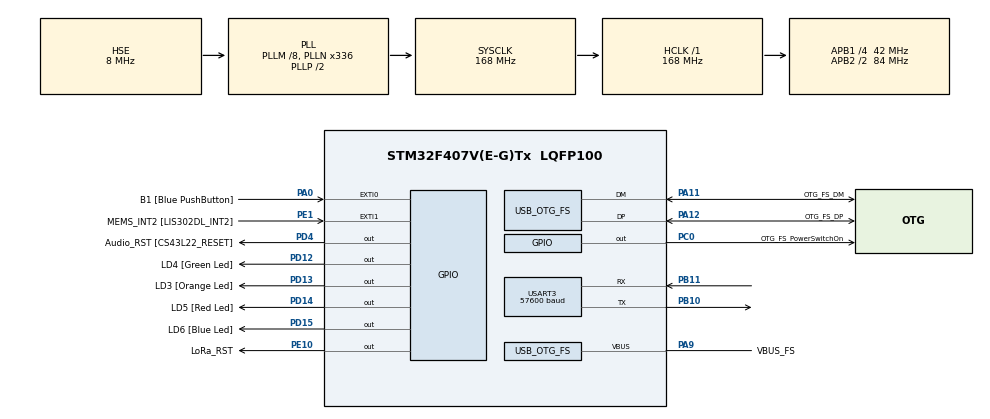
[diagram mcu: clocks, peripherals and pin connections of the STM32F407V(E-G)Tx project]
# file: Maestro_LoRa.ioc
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Mcu.Family=STM32F4
Mcu.Name=STM32F407V(E-G)Tx
Mcu.Package=LQFP100
NVIC.OTG_FS_IRQn=true\:0\:0\:false\:false\:true\:true\:true\:true
NVIC.PriorityGroup=NVIC_PRIORITYGROUP_0
PA0-WKUP.GPIO_Label=B1 [Blue PushButton]
PA0-WKUP.GPIO_ModeDefaultEXTI=GPIO_MODE_EVT_RISING
PA0-WKUP.GPIO_PuPd=GPIO_NOPULL
PA0-WKUP.Signal=GPXTI0
PA10.GPIO_Label=OTG_FS_ID
PA10.GPIO_Mode=GPIO_MODE_AF_PP
PA10.GPIO_PuPd=GPIO_NOPULL
PA10.GPIO_Speed=GPIO_SPEED_FREQ_LOW
PA10.Signal=USB_OTG_FS_ID
PA11.GPIO_Label=OTG_FS_DM
PA11.GPIO_Mode=GPIO_MODE_AF_PP
PA11.GPIO_PuPd=GPIO_NOPULL
PA11.GPIO_Speed=GPIO_SPEED_FREQ_LOW
PA11.Mode=Host_Only
PA11.Signal=USB_OTG_FS_DM
PA12.GPIO_Label=OTG_FS_DP
PA12.GPIO_Mode=GPIO_MODE_AF_PP
PA12.GPIO_PuPd=GPIO_NOPULL
PA12.GPIO_Speed=GPIO_SPEED_FREQ_LOW
PA12.Mode=Host_Only
PA12.Signal=USB_OTG_FS_DP
PA13.GPIO_Label=SWDIO
PA13.Mode=Serial_Wire
PA13.Signal=SYS_JTMS-SWDIO
PA14.GPIO_Label=SWCLK
PA14.Mode=Serial_Wire
PA14.Signal=SYS_JTCK-SWCLK
PA9.GPIO_Label=VBUS_FS
PA9.GPIO_Mode=GPIO_MODE_INPUT
PA9.GPIO_PuPd=GPIO_NOPULL
PA9.Mode=Activate_VBUS
PA9.Signal=USB_OTG_FS_VBUS
PB10.Mode=Asynchronous
PB10.Signal=USART3_TX
PB11.Mode=Asynchronous
PB11.Signal=USART3_RX
PC0.GPIO_Label=OTG_FS_PowerSwitchOn
PC0.GPIO_PuPd=GPIO_NOPULL
PC0.GPIO_Speed=GPIO_SPEED_FREQ_LOW
PC0.PinState=GPIO_PIN_SET
PC0.Signal=GPIO_Output
PC14-OSC32_IN.GPIO_Label=PC14-OSC32_IN
PC14-OSC32_IN.Mode=LSE-External-Oscillator
PC14-OSC32_IN.Signal=RCC_OSC32_IN
PC15-OSC32_OUT.GPIO_Label=PC15-OSC32_OUT
PC15-OSC32_OUT.Mode=LSE-External-Oscillator
PC15-OSC32_OUT.Signal=RCC_OSC32_OUT
PD12.GPIO_Label=LD4 [Green Led]
PD12.GPIO_PuPd=GPIO_NOPULL
PD12.GPIO_Speed=GPIO_SPEED_FREQ_LOW
PD12.Signal=GPIO_Output
PD13.GPIO_Label=LD3 [Orange Led]
PD13.GPIO_PuPd=GPIO_NOPULL
PD13.GPIO_Speed=GPIO_SPEED_FREQ_LOW
PD13.Signal=GPIO_Output
PD14.GPIO_Label=LD5 [Red Led]
PD14.GPIO_PuPd=GPIO_NOPULL
PD14.GPIO_Speed=GPIO_SPEED_FREQ_LOW
PD14.Signal=GPIO_Output
PD15.GPIO_Label=LD6 [Blue Led]
PD15.GPIO_PuPd=GPIO_NOPULL
PD15.GPIO_Speed=GPIO_SPEED_FREQ_LOW
PD15.Signal=GPIO_Output
PD4.GPIO_Label=Audio_RST [CS43L22_RESET]
PD4.GPIO_PuPd=GPIO_NOPULL
PD4.GPIO_Speed=GPIO_SPEED_FREQ_LOW
PD4.Signal=GPIO_Output
PE1.GPIO_Label=MEMS_INT2 [LIS302DL_INT2]
PE1.GPIO_ModeDefaultEXTI=GPIO_MODE_EVT_RISING
PE1.GPIO_PuPd=GPIO_NOPULL
PE1.Signal=GPXTI1
PE10.GPIO_Label=LoRa_RST
PE10.GPIO_PuPd=GPIO_PULLUP
PE10.PinState=GPIO_PIN_SET
PE10.Signal=GPIO_Output
PH0-OSC_IN.GPIO_Label=PH0-OSC_IN
PH0-OSC_IN.Mode=HSE-External-Oscillator
PH0-OSC_IN.Signal=RCC_OSC_IN
PH1-OSC_OUT.GPIO_Label=PH1-OSC_OUT
PH1-OSC_OUT.Mode=HSE-External-Oscillator
PH1-OSC_OUT.Signal=RCC_OSC_OUT
ProjectManager.HeapSize=0x200
ProjectManager.StackSize=0x400
ProjectManager.TargetToolchain=STM32CubeIDE
RCC.48MHZClocksFreq_Value=48000000
RCC.AHBFreq_Value=168000000
RCC.APB1CLKDivider=RCC_HCLK_DIV4
RCC.APB1Freq_Value=42000000
RCC.APB1TimFreq_Value=84000000
RCC.APB2CLKDivider=RCC_HCLK_DIV2
RCC.APB2Freq_Value=84000000
RCC.APB2TimFreq_Value=168000000
RCC.CortexFreq_Value=168000000
RCC.HCLKFreq_Value=168000000
RCC.HSE_VALUE=8000000
RCC.HSI_VALUE=16000000
RCC.PLLM=8
RCC.PLLN=336
RCC.PLLQ=7
RCC.SYSCLKFreq_VALUE=168000000
RCC.SYSCLKSource=RCC_SYSCLKSOURCE_PLLCLK
RCC.VCOOutputFreq_Value=336000000
TIM3.Period=4199
USART3.BaudRate=57600
USART3.VirtualMode=VM_ASYNC
USB_HOST.BSP.number=1
USB_HOST.USBH_HandleTypeDef-CDC_FS=hUsbHostFS
USB_HOST.VirtualModeFS=Cdc
USB_HOST0.BSP.STBoard=false
USB_HOST0.BSP.api=Unknown
USB_HOST0.BSP.instance=PC0
USB_HOST0.BSP.ip=GPIO
USB_HOST0.BSP.mode=Output
USB_HOST0.BSP.name=Drive_VBUS_FS
USB_HOST0.BSP.solution=PC0
USB_OTG_FS.VirtualMode=Host_Only
USB_OTG_FS.phy_itface=HCD_PHY_EMBEDDED
VP_TIM3_VS_ClockSourceINT.Mode=Internal
VP_USB_HOST_VS_USB_HOST_CDC_FS.Mode=CDC_FS
board=STM32F407G-DISC1

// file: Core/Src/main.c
/* USER CODE BEGIN Header */
/**
  ******************************************************************************
  * @file           : main.c
  * @brief          : Main program body
  ******************************************************************************
  * @attention
  *
  * Copyright (c) 2025 STMicroelectronics.
  * All rights reserved.
  *
  * This software is licensed under terms that can be found in the LICENSE file
  * in the root directory of this software component.
  * If no LICENSE file comes with this software, it is provided AS-IS.
  *
  ******************************************************************************
  */
/* USER CODE END Header */
#include "main.h"
#include "usb_host.h"

/* USER CODE BEGIN Includes */
#include <stdio.h>
#include <string.h>
/* USER CODE END Includes */

TIM_HandleTypeDef htim3;

UART_HandleTypeDef huart3;

/* USER CODE BEGIN PV */
// ==== Config TLI4970 (SPI1 + CS en PE5) ====
//static int16_t g_i_last = 0;   // último muestreo de corriente

// Buffers LoRa
//#define LORA_RX_BUF_SZ 256
//static uint8_t lora_rx_buf[LORA_RX_BUF_SZ];
//static volatile size_t lora_rx_len = 0;
/* USER CODE END PV */

void SystemClock_Config(void);
static void MX_GPIO_Init(void);
static void MX_USART3_UART_Init(void);
static void MX_TIM3_Init(void);
void MX_USB_HOST_Process(void);

/* USER CODE BEGIN 0 */
static inline void LORA_Reset_Pulse(void)
{
  // RST PE10: Low 10 ms, luego High
  HAL_GPIO_WritePin(GPIOE, GPIO_PIN_10, GPIO_PIN_RESET);
  HAL_Delay(10);
  HAL_GPIO_WritePin(GPIOE, GPIO_PIN_10, GPIO_PIN_SET);
  HAL_Delay(100); // esperar banner de inicio
}

// Convierte 1 byte a 2 dígitos HEX ASCII (ej. 0x31 -> "31")
static void u8_to_hex2(uint8_t b, char out[3]) {
  const char *H = "0123456789ABCDEF";
  out[0] = H[(b >> 4) & 0x0F];
  out[1] = H[b & 0x0F];
  out[2] = '\0';
}

// === LoRa: TX/RX por polling línea-a-línea ===
static int LORA_SendLine(const char *line, uint32_t timeout_ms)
{
  char tx[128];
  int n = snprintf(tx, sizeof(tx), "%s\r\n", line);
  if (n <= 0) return -1;
  if (HAL_UART_Transmit(&huart3, (uint8_t*)tx, (uint16_t)n, timeout_ms) != HAL_OK) return -2;
  return 0;
}

static int LORA_ReadLine(char *out, size_t out_sz, uint32_t timeout_ms)
{
  size_t idx = 0;
  uint8_t ch;
  uint32_t start = HAL_GetTick();
  while ((HAL_GetTick() - start) < timeout_ms && idx < (out_sz-1))
  {
    if (HAL_UART_Receive(&huart3, &ch, 1, 10) == HAL_OK)
    {
      if (ch == '\n') break;
      if (ch != '\r') out[idx++] = ch;
    }
  }
  out[idx] = '\0';
  return (idx > 0) ? (int)idx : -1;
}

static int LORA_BootAndCheck(void)
{
  char line[128];

  LORA_Reset_Pulse();

  // Algunos RN2483 envían un banner tras reset; intenta leerlo sin bloquearte mucho
  LORA_ReadLine(line, sizeof(line), 300);

  if (LORA_SendLine("sys get ver", 200) != 0) return -1;
  if (LORA_ReadLine(line, sizeof(line), 500) < 0) return -2;

  // Aquí podrías validar prefijo "RN"
  return 0;
}

// === LoRa: TX básico en modo 'radio' (punto a punto) ===
static int LORA_RadioBasicTx(const char *hex_payload)
{
  char cmd[64], resp[64];

  LORA_SendLine("mac pause", 200);
  LORA_ReadLine(resp, sizeof(resp), 500);   // suele devolver "4294967295"

  // Config LoRa básica @433 MHz
  LORA_SendLine("radio set mod lora", 200);
  LORA_ReadLine(resp, sizeof(resp), 300);

  LORA_SendLine("radio set freq 433000000", 200);
  LORA_ReadLine(resp, sizeof(resp), 300);

  LORA_SendLine("radio set pwr 14", 200);
  LORA_ReadLine(resp, sizeof(resp), 300);

  LORA_SendLine("radio set sf sf7", 200);
  LORA_ReadLine(resp, sizeof(resp), 300);

  // BW correcto para LoRa (125/250/500)
  LORA_SendLine("radio set bw 125", 200);
  LORA_ReadLine(resp, sizeof(resp), 300);

  // Coding rate (4/5..4/8), CRC on, IQ invert off, preamble 8 (ajustables)
  LORA_SendLine("radio set cr 4/5", 200);
  LORA_ReadLine(resp, sizeof(resp), 300);

  LORA_SendLine("radio set crc on", 200);
  LORA_ReadLine(resp, sizeof(resp), 300);

  LORA_SendLine("radio set iqi off", 200);
  LORA_ReadLine(resp, sizeof(resp), 300);

  LORA_SendLine("radio set prlen 8", 200);
  LORA_ReadLine(resp, sizeof(resp), 300);

  // WDT 0 para evitar timeouts en radio
  LORA_SendLine("radio set wdt 0", 200);
  LORA_ReadLine(resp, sizeof(resp), 300);

  // TX
  snprintf(cmd, sizeof(cmd), "radio tx %s", hex_payload);
  if (LORA_SendLine(cmd, 500) != 0) return -1;

  if (LORA_ReadLine(resp, sizeof(resp), 500) < 0) return -2;   // esperado: "ok"
  if (LORA_ReadLine(resp, sizeof(resp), 2000) < 0) return -3;  // esperado: "radio_tx_ok"
  return 0;
}

/* USER CODE END 0 */

int main(void)
{

  /* MCU Configuration--------------------------------------------------------*/

  /* Reset of all peripherals, Initializes the Flash interface and the Systick. */
  HAL_Init();

  /* Configure the system clock */
  SystemClock_Config();

  /* Initialize all configured peripherals */
  MX_GPIO_Init();
  MX_USB_HOST_Init();
  MX_USART3_UART_Init();
  MX_TIM3_Init();
  /* USER CODE BEGIN 2 */

  // Boot + versión del LoRa
  if (LORA_BootAndCheck() != 0) {
    // aquí puedes encender un LED o imprimir por otra UART para saber que falló
  }

  // Arrancar PWM con 20% (ejemplo)

  //uint8_t txData[100];
  /* USER CODE END 2 */

  /* Infinite loop */
  while (1)
  {
    MX_USB_HOST_Process();

    /* USER CODE BEGIN 3 */
	      static uint8_t dig = 0;        // dígito actual (0..9)
	      static uint32_t t_tx = 0;

	      if (HAL_GetTick() - t_tx >= 1000)   // cada 1 segundo
	      {
	        t_tx = HAL_GetTick();

	        char payload_hex[3];              // 2 hex + '\0'
	        uint8_t ascii_digit = (uint8_t)('0' + dig); // '0'..'9'
	        u8_to_hex2(ascii_digit, payload_hex);       // ej. '1' -> "31"

	        int r = LORA_RadioBasicTx(payload_hex);     // envía "radio tx 31"
	        if (r == 0) {
	          HAL_GPIO_TogglePin(GPIOD, GPIO_PIN_12);   // LED verde: TX OK
	        } else {
	          HAL_GPIO_WritePin(GPIOD, GPIO_PIN_14, GPIO_PIN_SET); // LED rojo: fallo
	        }

	        // avanza al siguiente dígito
	        dig++;
	        if (dig > 9) dig = 0;
	      }
    }
  }
  /* USER CODE END 3 */

void SystemClock_Config(void)
{
  RCC_OscInitTypeDef RCC_OscInitStruct = {0};
  RCC_ClkInitTypeDef RCC_ClkInitStruct = {0};

  /** Configure the main internal regulator output voltage
  */
  __HAL_RCC_PWR_CLK_ENABLE();
  __HAL_PWR_VOLTAGESCALING_CONFIG(PWR_REGULATOR_VOLTAGE_SCALE1);

  /** Initializes the RCC Oscillators according to the specified parameters
  * in the RCC_OscInitTypeDef structure.
  */
  RCC_OscInitStruct.OscillatorType = RCC_OSCILLATORTYPE_HSE;
  RCC_OscInitStruct.HSEState = RCC_HSE_ON;
  RCC_OscInitStruct.PLL.PLLState = RCC_PLL_ON;
  RCC_OscInitStruct.PLL.PLLSource = RCC_PLLSOURCE_HSE;
  RCC_OscInitStruct.PLL.PLLM = 8;
  RCC_OscInitStruct.PLL.PLLN = 336;
  RCC_OscInitStruct.PLL.PLLP = RCC_PLLP_DIV2;
  RCC_OscInitStruct.PLL.PLLQ = 7;
  if (HAL_RCC_OscConfig(&RCC_OscInitStruct) != HAL_OK)
  {
    Error_Handler();
  }

  /** Initializes the CPU, AHB and APB buses clocks
  */
  RCC_ClkInitStruct.ClockType = RCC_CLOCKTYPE_HCLK|RCC_CLOCKTYPE_SYSCLK
                              |RCC_CLOCKTYPE_PCLK1|RCC_CLOCKTYPE_PCLK2;
  RCC_ClkInitStruct.SYSCLKSource = RCC_SYSCLKSOURCE_PLLCLK;
  RCC_ClkInitStruct.AHBCLKDivider = RCC_SYSCLK_DIV1;
  RCC_ClkInitStruct.APB1CLKDivider = RCC_HCLK_DIV4;
  RCC_ClkInitStruct.APB2CLKDivider = RCC_HCLK_DIV2;

  if (HAL_RCC_ClockConfig(&RCC_ClkInitStruct, FLASH_LATENCY_5) != HAL_OK)
  {
    Error_Handler();
  }
}

static void MX_TIM3_Init(void)
{

  TIM_ClockConfigTypeDef sClockSourceConfig = {0};
  TIM_MasterConfigTypeDef sMasterConfig = {0};

  htim3.Instance = TIM3;
  htim3.Init.Prescaler = 0;
  htim3.Init.CounterMode = TIM_COUNTERMODE_UP;
  htim3.Init.Period = 4199;
  htim3.Init.ClockDivision = TIM_CLOCKDIVISION_DIV1;
  htim3.Init.AutoReloadPreload = TIM_AUTORELOAD_PRELOAD_DISABLE;
  if (HAL_TIM_Base_Init(&htim3) != HAL_OK)
  {
    Error_Handler();
  }
  sClockSourceConfig.ClockSource = TIM_CLOCKSOURCE_INTERNAL;
  if (HAL_TIM_ConfigClockSource(&htim3, &sClockSourceConfig) != HAL_OK)
  {
    Error_Handler();
  }
  sMasterConfig.MasterOutputTrigger = TIM_TRGO_RESET;
  sMasterConfig.MasterSlaveMode = TIM_MASTERSLAVEMODE_DISABLE;
  if (HAL_TIMEx_MasterConfigSynchronization(&htim3, &sMasterConfig) != HAL_OK)
  {
    Error_Handler();
  }

}

static void MX_USART3_UART_Init(void)
{

  huart3.Instance = USART3;
  huart3.Init.BaudRate = 57600;
  huart3.Init.WordLength = UART_WORDLENGTH_8B;
  huart3.Init.StopBits = UART_STOPBITS_1;
  huart3.Init.Parity = UART_PARITY_NONE;
  huart3.Init.Mode = UART_MODE_TX_RX;
  huart3.Init.HwFlowCtl = UART_HWCONTROL_NONE;
  huart3.Init.OverSampling = UART_OVERSAMPLING_16;
  if (HAL_UART_Init(&huart3) != HAL_OK)
  {
    Error_Handler();
  }

}

static void MX_GPIO_Init(void)
{
  GPIO_InitTypeDef GPIO_InitStruct = {0};

  /* GPIO Ports Clock Enable */
  __HAL_RCC_GPIOC_CLK_ENABLE();
  __HAL_RCC_GPIOH_CLK_ENABLE();
  __HAL_RCC_GPIOA_CLK_ENABLE();
  __HAL_RCC_GPIOE_CLK_ENABLE();
  __HAL_RCC_GPIOB_CLK_ENABLE();
  __HAL_RCC_GPIOD_CLK_ENABLE();

  /*Configure GPIO pin Output Level */
  HAL_GPIO_WritePin(OTG_FS_PowerSwitchOn_GPIO_Port, OTG_FS_PowerSwitchOn_Pin, GPIO_PIN_SET);

  /*Configure GPIO pin Output Level */
  HAL_GPIO_WritePin(LoRa_RST_GPIO_Port, LoRa_RST_Pin, GPIO_PIN_SET);

  /*Configure GPIO pin Output Level */
  HAL_GPIO_WritePin(GPIOD, LD4_Pin|LD3_Pin|LD5_Pin|LD6_Pin
                          |Audio_RST_Pin, GPIO_PIN_RESET);

  /*Configure GPIO pin : OTG_FS_PowerSwitchOn_Pin */
  GPIO_InitStruct.Pin = OTG_FS_PowerSwitchOn_Pin;
  GPIO_InitStruct.Mode = GPIO_MODE_OUTPUT_PP;
  GPIO_InitStruct.Pull = GPIO_NOPULL;
  GPIO_InitStruct.Speed = GPIO_SPEED_FREQ_LOW;
  HAL_GPIO_Init(OTG_FS_PowerSwitchOn_GPIO_Port, &GPIO_InitStruct);

  /*Configure GPIO pin : B1_Pin */
  GPIO_InitStruct.Pin = B1_Pin;
  GPIO_InitStruct.Mode = GPIO_MODE_EVT_RISING;
  GPIO_InitStruct.Pull = GPIO_NOPULL;
  HAL_GPIO_Init(B1_GPIO_Port, &GPIO_InitStruct);

  /*Configure GPIO pin : LoRa_RST_Pin */
  GPIO_InitStruct.Pin = LoRa_RST_Pin;
  GPIO_InitStruct.Mode = GPIO_MODE_OUTPUT_PP;
  GPIO_InitStruct.Pull = GPIO_PULLUP;
  GPIO_InitStruct.Speed = GPIO_SPEED_FREQ_LOW;
  HAL_GPIO_Init(LoRa_RST_GPIO_Port, &GPIO_InitStruct);

  /*Configure GPIO pins : LD4_Pin LD3_Pin LD5_Pin LD6_Pin
                           Audio_RST_Pin */
  GPIO_InitStruct.Pin = LD4_Pin|LD3_Pin|LD5_Pin|LD6_Pin
                          |Audio_RST_Pin;
  GPIO_InitStruct.Mode = GPIO_MODE_OUTPUT_PP;
  GPIO_InitStruct.Pull = GPIO_NOPULL;
  GPIO_InitStruct.Speed = GPIO_SPEED_FREQ_LOW;
  HAL_GPIO_Init(GPIOD, &GPIO_InitStruct);

  /*Configure GPIO pin : MEMS_INT2_Pin */
  GPIO_InitStruct.Pin = MEMS_INT2_Pin;
  GPIO_InitStruct.Mode = GPIO_MODE_EVT_RISING;
  GPIO_InitStruct.Pull = GPIO_NOPULL;
  HAL_GPIO_Init(MEMS_INT2_GPIO_Port, &GPIO_InitStruct);

}

void Error_Handler(void)
{
  __disable_irq();
  while (1)
  {
  }
}
